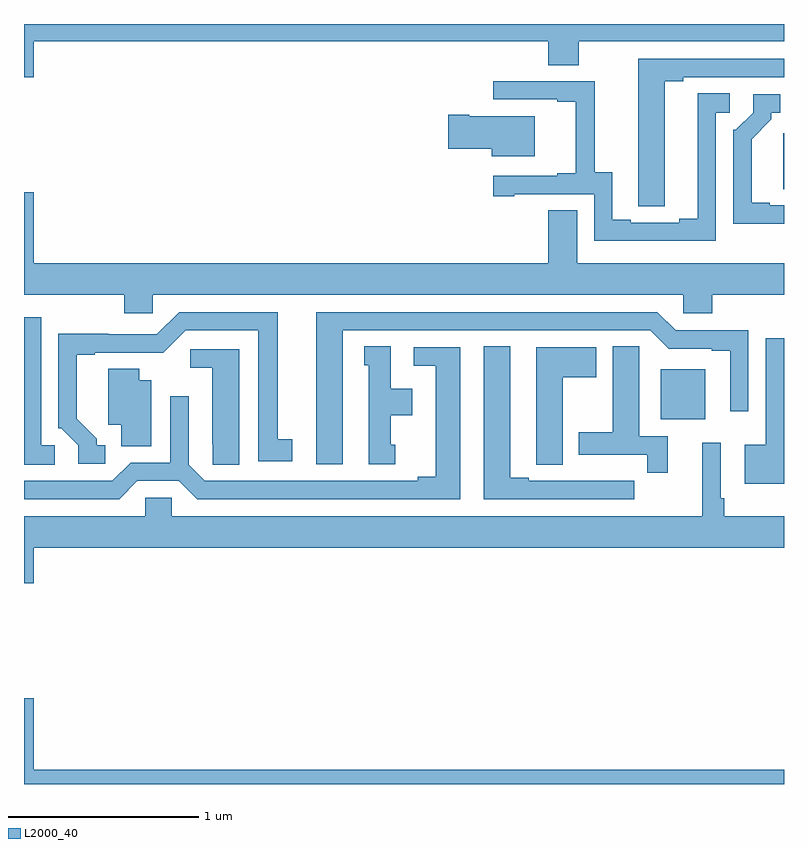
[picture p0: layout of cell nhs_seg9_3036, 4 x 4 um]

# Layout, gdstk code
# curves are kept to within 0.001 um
import gdstk
lib = gdstk.Library(unit=1e-6, precision=1e-09)
def R(c, l, rs):  # rectangles x0, y0, x1, y1
    for r in rs: c.add(gdstk.rectangle(r[:2], r[2:], *l))
def P(c, l, *ps):  # polygons
    for p in ps: c.add(gdstk.Polygon(p, *l))
L2000_40 = (2000, 40)

nhs_seg9_3036 = lib.new_cell('nhs_seg9_3036')
R(nhs_seg9_3036, L2000_40, [(288.35,1206.419,288.586,1206.682), (288.995,1207.63,289,1207.924)])
P(nhs_seg9_3036, L2000_40, [(285.052,1208.408),(287.759,1208.408),(287.759,1208.284),(287.919,1208.284),(287.919,1208.408),(289,1208.408),(289,1208.5),(285,1208.5),(285,1208.22),(285.052,1208.22)],
  [(288.373,1208.2),(288.469,1208.2),(288.469,1208.22),(289,1208.22),(289,1208.316),(288.233,1208.316),(288.233,1207.648),(288.234,1207.648),(288.234,1207.54),(288.373,1207.54)],
  [(288.642,1208.034),(288.715,1208.034),(288.715,1208.135),(288.545,1208.135),(288.545,1207.475),(288.449,1207.475),(288.449,1207.455),(288.193,1207.455),(288.193,1207.47),(288.097,1207.47),(288.097,1207.721),(288.003,1207.721),(288.003,1208.199),(287.469,1208.199),(287.469,1208.103),(287.807,1208.103),(287.807,1208.091),(287.903,1208.091),(287.903,1207.714),(287.807,1207.714),(287.807,1207.701),(287.469,1207.701),(287.469,1207.593),(287.581,1207.593),(287.581,1207.605),(288,1207.605),(288,1207.359),(288.642,1207.359)],
  [(288.995,1207.449),(289,1207.449),(289,1207.545),(288.925,1207.545),(288.925,1207.558),(288.829,1207.558),(288.829,1207.894),(288.934,1207.999),(288.934,1208.034),(288.979,1208.034),(288.979,1208.13),(288.837,1208.13),(288.837,1208.034),(288.747,1207.944),(288.732,1207.944),(288.732,1207.448)],
  [(287.689,1208.014),(287.344,1208.014),(287.344,1208.022),(287.232,1208.022),(287.232,1207.844),(287.462,1207.844),(287.462,1207.805),(287.689,1207.805)],
  [(285.678,1207.076),(288.471,1207.076),(288.471,1206.978),(288.623,1206.978),(288.623,1207.076),(289,1207.076),(289,1207.24),(287.911,1207.24),(287.911,1207.52),(287.759,1207.52),(287.759,1207.24),(285.052,1207.24),(285.052,1207.615),(285,1207.615),(285,1207.076),(285.527,1207.076),(285.527,1206.978),(285.678,1206.978)],
  [(285.427,1206.282),(285.382,1206.282),(285.382,1206.317),(285.277,1206.422),(285.277,1206.759),(285.373,1206.759),(285.373,1206.771),(285.734,1206.77),(285.852,1206.888),(286.232,1206.888),(286.232,1206.198),(286.411,1206.198),(286.411,1206.314),(286.336,1206.314),(286.336,1206.984),(285.816,1206.984),(285.699,1206.867),(285.443,1206.867),(285.443,1206.869),(285.18,1206.869),(285.18,1206.372),(285.195,1206.372),(285.285,1206.282),(285.285,1206.186),(285.427,1206.186)],
  [(286.678,1206.888),(288.297,1206.888),(288.393,1206.792),(288.62,1206.792),(288.62,1206.78),(288.716,1206.78),(288.716,1206.462),(288.813,1206.462),(288.813,1206.888),(288.429,1206.888),(288.333,1206.984),(286.538,1206.984),(286.538,1206.183),(286.678,1206.183)],
  [(285.163,1206.282),(285.09,1206.282),(285.09,1206.957),(285,1206.957),(285,1206.181),(285.163,1206.181)],
  [(289,1206.847),(288.903,1206.847),(288.903,1206.286),(288.794,1206.286),(288.794,1206.08),(289,1206.08)],
  [(288.389,1206.33),(288.238,1206.33),(288.238,1206.692),(288.237,1206.692),(288.237,1206.803),(288.098,1206.803),(288.098,1206.351),(287.921,1206.351),(287.921,1206.234),(288.28,1206.234),(288.28,1206.138),(288.389,1206.138)],
  [(288.211,1206.096),(288.098,1206.096),(288.098,1206.097),(287.932,1206.097),(287.932,1206.096),(287.656,1206.096),(287.656,1206.111),(287.56,1206.111),(287.56,1206.803),(287.42,1206.803),(287.42,1206),(288.211,1206)],
  [(286.954,1206.285),(286.93,1206.285),(286.93,1206.44),(287.044,1206.44),(287.044,1206.58),(286.93,1206.58),(286.93,1206.803),(286.79,1206.803),(286.79,1206.705),(286.814,1206.705),(286.814,1206.183),(286.954,1206.183)],
  [(287.836,1206.64),(288.013,1206.64),(288.013,1206.799),(287.696,1206.799),(287.696,1206.289),(287.697,1206.289),(287.697,1206.181),(287.836,1206.181)],
  [(285.597,1206.096),(285.815,1206.096),(285.911,1206),(287.296,1206),(287.296,1206.798),(287.052,1206.798),(287.052,1206.702),(287.168,1206.702),(287.168,1206.116),(287.072,1206.116),(287.072,1206.096),(285.951,1206.096),(285.867,1206.18),(285.867,1206.541),(285.771,1206.541),(285.771,1206.192),(285.561,1206.192),(285.465,1206.096),(285,1206.096),(285,1206),(285.501,1206)],
  [(286.132,1206.789),(285.876,1206.789),(285.876,1206.692),(285.992,1206.692),(285.992,1206.289),(285.993,1206.289),(285.993,1206.181),(286.132,1206.181)],
  [(285.67,1206.625),(285.607,1206.625),(285.607,1206.686),(285.443,1206.686),(285.443,1206.392),(285.512,1206.392),(285.512,1206.277),(285.67,1206.277)],
  [(285.052,1205.744),(289,1205.744),(289,1205.908),(288.686,1205.908),(288.686,1206.004),(288.666,1206.004),(288.666,1206.295),(288.569,1206.295),(288.569,1205.908),(285.777,1205.908),(285.777,1206.006),(285.639,1206.006),(285.639,1205.908),(285,1205.908),(285,1205.556),(285.052,1205.556)],
  [(289,1204.576),(285.052,1204.576),(285.052,1204.951),(285,1204.951),(285,1204.5),(289,1204.5)])

lib.write_gds('nhs_seg9_3036.gds')
